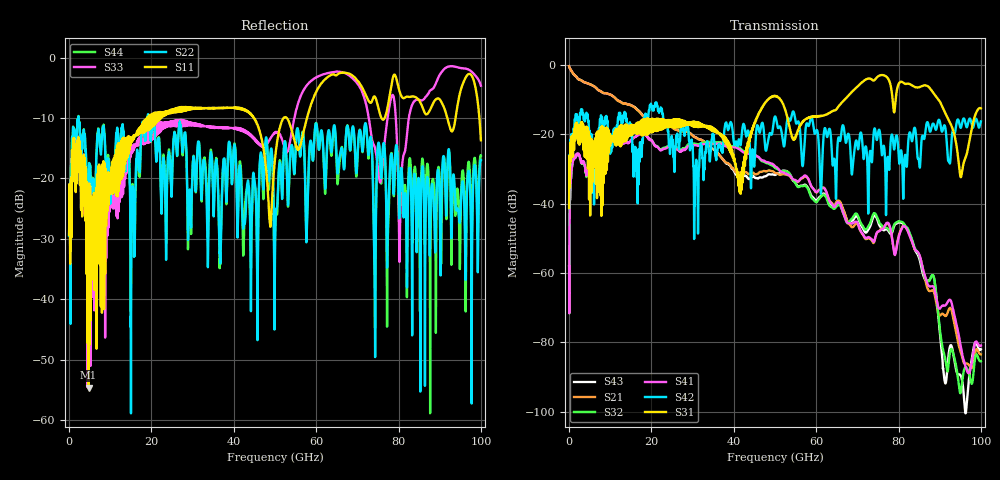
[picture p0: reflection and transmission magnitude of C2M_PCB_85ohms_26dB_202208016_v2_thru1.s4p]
! Info: Touchstone file created by Circ.  Input file=Intel_C2M_200G_11p0in_202208016_staggered.circ
# Hz S RI R 50
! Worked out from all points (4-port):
!   10000 points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, 10 MHz to 100 GHz, reference 50 ohm
!   strongest paths, dB at 10 MHz, 25.01 GHz, 50.01 GHz, 75.01 GHz, 100 GHz:
!     S31: -41.3, -17.2, -8.9, -3.3, -12.5
!     S42: -41.3, -22.1, -14.8, -19.8, -16.3
!     S41: -58.0, -23.6, -29.2, -48.0, -80.9
!     S32: -58.0, -23.3, -29.6, -44.6, -85.5
!     S21: -0.3, -17.9, -31.1, -48.1, -83.5
!     S43: -0.3, -17.9, -31.7, -45.1, -82.0
!   lowest |S11| = -54.6 dB at 4.74 GHz (marker M1), VSWR 1.00, Z = 50.2 - j0.0878 ohm
!   |S11| at or under -10 dB: start of sweep to 19.08 GHz; 44.95 GHz to 52.08 GHz (7.13 GHz wide, 14.7 % of centre); 52.89 GHz to 57.77 GHz (4.88 GHz wide, 8.82 % of centre)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
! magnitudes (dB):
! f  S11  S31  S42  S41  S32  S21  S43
! 10 MHz  -29.3  -41.3  -41.3  -58.0  -58.0  -0.3  -0.3
! 1.08 GHz  -18.5  -19.9  -18.6  -27.2  -27.2  -2.5  -2.5
! 4.74 GHz  -54.6  -19.4  -16.4  -29.1  -29.4  -5.4  -5.4
! 57.48 GHz  -10.8  -15.5  -17.9  -31.9  -34.9  -32.1  -34.6
! 80.34 GHz  -5.8  -4.9  -27.0  -48.4  -45.1  -48.2  -45.4
! 95.17 GHz  -5.2  -32.3  -18.0  -81.5  -93.9  -83.0  -89.8
! 100 GHz  -13.7  -12.5  -16.3  -80.9  -85.5  -83.5  -82.0
